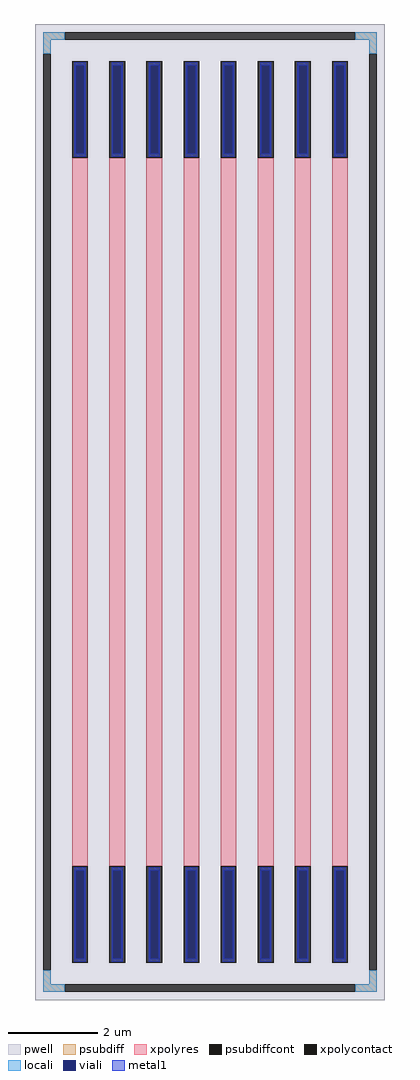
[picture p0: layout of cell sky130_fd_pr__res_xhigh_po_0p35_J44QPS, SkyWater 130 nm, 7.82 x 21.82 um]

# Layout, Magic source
magic
tech sky130A
magscale 1 2
<< pwell >>
rect -782 -2182 782 2182
<< psubdiff >>
rect -746 2112 -650 2146
rect 650 2112 746 2146
rect -746 2050 -712 2112
rect 712 2050 746 2112
rect -746 -2112 -712 -2050
rect 712 -2112 746 -2050
rect -746 -2146 -650 -2112
rect 650 -2146 746 -2112
<< psubdiffcont >>
rect -650 2112 650 2146
rect -746 -2050 -712 2050
rect 712 -2050 746 2050
rect -650 -2146 650 -2112
<< xpolycontact >>
rect -616 1584 -546 2016
rect -616 -2016 -546 -1584
rect -450 1584 -380 2016
rect -450 -2016 -380 -1584
rect -284 1584 -214 2016
rect -284 -2016 -214 -1584
rect -118 1584 -48 2016
rect -118 -2016 -48 -1584
rect 48 1584 118 2016
rect 48 -2016 118 -1584
rect 214 1584 284 2016
rect 214 -2016 284 -1584
rect 380 1584 450 2016
rect 380 -2016 450 -1584
rect 546 1584 616 2016
rect 546 -2016 616 -1584
<< xpolyres >>
rect -616 -1584 -546 1584
rect -450 -1584 -380 1584
rect -284 -1584 -214 1584
rect -118 -1584 -48 1584
rect 48 -1584 118 1584
rect 214 -1584 284 1584
rect 380 -1584 450 1584
rect 546 -1584 616 1584
<< locali >>
rect -746 2112 -650 2146
rect 650 2112 746 2146
rect -746 2050 -712 2112
rect 712 2050 746 2112
rect -746 -2112 -712 -2050
rect 712 -2112 746 -2050
rect -746 -2146 -650 -2112
rect 650 -2146 746 -2112
<< viali >>
rect -600 1601 -562 1998
rect -434 1601 -396 1998
rect -268 1601 -230 1998
rect -102 1601 -64 1998
rect 64 1601 102 1998
rect 230 1601 268 1998
rect 396 1601 434 1998
rect 562 1601 600 1998
rect -600 -1998 -562 -1601
rect -434 -1998 -396 -1601
rect -268 -1998 -230 -1601
rect -102 -1998 -64 -1601
rect 64 -1998 102 -1601
rect 230 -1998 268 -1601
rect 396 -1998 434 -1601
rect 562 -1998 600 -1601
<< metal1 >>
rect -606 1998 -556 2010
rect -606 1601 -600 1998
rect -562 1601 -556 1998
rect -606 1589 -556 1601
rect -440 1998 -390 2010
rect -440 1601 -434 1998
rect -396 1601 -390 1998
rect -440 1589 -390 1601
rect -274 1998 -224 2010
rect -274 1601 -268 1998
rect -230 1601 -224 1998
rect -274 1589 -224 1601
rect -108 1998 -58 2010
rect -108 1601 -102 1998
rect -64 1601 -58 1998
rect -108 1589 -58 1601
rect 58 1998 108 2010
rect 58 1601 64 1998
rect 102 1601 108 1998
rect 58 1589 108 1601
rect 224 1998 274 2010
rect 224 1601 230 1998
rect 268 1601 274 1998
rect 224 1589 274 1601
rect 390 1998 440 2010
rect 390 1601 396 1998
rect 434 1601 440 1998
rect 390 1589 440 1601
rect 556 1998 606 2010
rect 556 1601 562 1998
rect 600 1601 606 1998
rect 556 1589 606 1601
rect -606 -1601 -556 -1589
rect -606 -1998 -600 -1601
rect -562 -1998 -556 -1601
rect -606 -2010 -556 -1998
rect -440 -1601 -390 -1589
rect -440 -1998 -434 -1601
rect -396 -1998 -390 -1601
rect -440 -2010 -390 -1998
rect -274 -1601 -224 -1589
rect -274 -1998 -268 -1601
rect -230 -1998 -224 -1601
rect -274 -2010 -224 -1998
rect -108 -1601 -58 -1589
rect -108 -1998 -102 -1601
rect -64 -1998 -58 -1601
rect -108 -2010 -58 -1998
rect 58 -1601 108 -1589
rect 58 -1998 64 -1601
rect 102 -1998 108 -1601
rect 58 -2010 108 -1998
rect 224 -1601 274 -1589
rect 224 -1998 230 -1601
rect 268 -1998 274 -1601
rect 224 -2010 274 -1998
rect 390 -1601 440 -1589
rect 390 -1998 396 -1601
rect 434 -1998 440 -1601
rect 390 -2010 440 -1998
rect 556 -1601 606 -1589
rect 556 -1998 562 -1601
rect 600 -1998 606 -1601
rect 556 -2010 606 -1998
<< properties >>
string FIXED_BBOX -729 -2129 729 2129
string gencell sky130_fd_pr__res_xhigh_po_0p35
string library sky130
string parameters w 0.35 l 16 m 1 nx 8 wmin 0.350 lmin 0.50 rho 2000 val 92.504k dummy 0 dw 0.0 term 188.2 sterm 0.0 caplen 0 wmax 0.350 guard 1 glc 1 grc 1 gtc 1 gbc 1 compatible {sky130_fd_pr__res_xhigh_po_0p35  sky130_fd_pr__res_xhigh_po_0p69 sky130_fd_pr__res_xhigh_po_1p41  sky130_fd_pr__res_xhigh_po_2p85 sky130_fd_pr__res_xhigh_po_5p73} snake 0 full_metal 1 n_guard 0 hv_guard 0 vias 1 viagb 0 viagt 0 viagl 0 viagr 0
<< end >>
